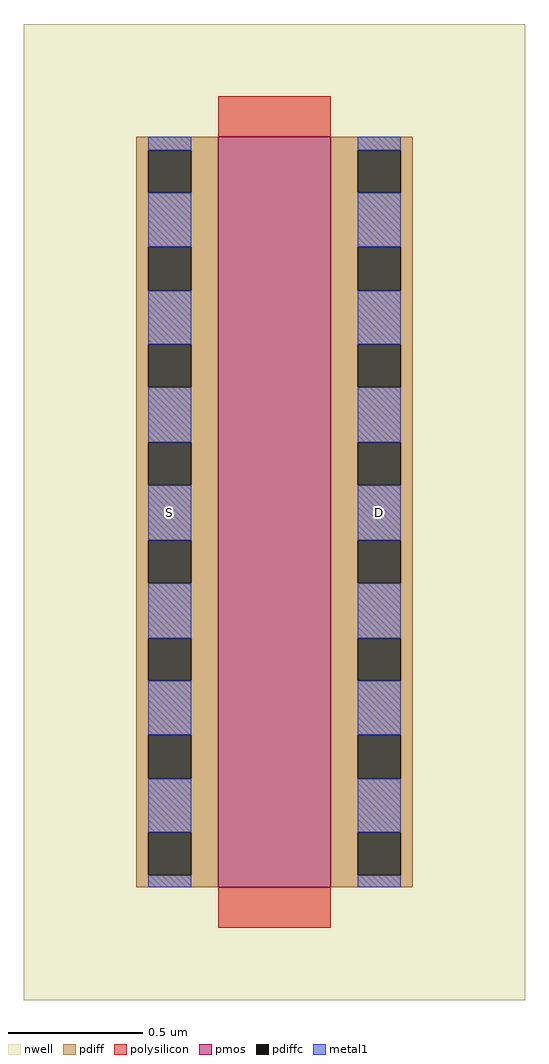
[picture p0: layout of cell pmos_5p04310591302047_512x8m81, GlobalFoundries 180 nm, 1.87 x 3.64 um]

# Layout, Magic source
magic
tech gf180mcuD
magscale 1 10
<< nwell >>
rect -145 -84 229 644
<< pmos >>
rect 0 0 84 560
<< pdiff >>
rect -61 550 0 560
rect -61 518 -52 550
rect -20 518 0 550
rect -61 478 0 518
rect -61 445 -52 478
rect -20 445 0 478
rect -61 405 0 445
rect -61 373 -52 405
rect -20 373 0 405
rect -61 332 0 373
rect -61 300 -52 332
rect -20 300 0 332
rect -61 259 0 300
rect -61 227 -52 259
rect -20 227 0 259
rect -61 186 0 227
rect -61 154 -52 186
rect -20 154 0 186
rect -61 114 0 154
rect -61 81 -52 114
rect -20 81 0 114
rect -61 41 0 81
rect -61 9 -52 41
rect -20 9 0 41
rect -61 0 0 9
rect 84 550 145 560
rect 84 518 104 550
rect 136 518 145 550
rect 84 478 145 518
rect 84 445 104 478
rect 136 445 145 478
rect 84 405 145 445
rect 84 373 104 405
rect 136 373 145 405
rect 84 332 145 373
rect 84 300 104 332
rect 136 300 145 332
rect 84 259 145 300
rect 84 227 104 259
rect 136 227 145 259
rect 84 186 145 227
rect 84 154 104 186
rect 136 154 145 186
rect 84 114 145 154
rect 84 81 104 114
rect 136 81 145 114
rect 84 41 145 81
rect 84 9 104 41
rect 136 9 145 41
rect 84 0 145 9
<< pdiffc >>
rect -52 518 -20 550
rect -52 445 -20 478
rect -52 373 -20 405
rect -52 300 -20 332
rect -52 227 -20 259
rect -52 154 -20 186
rect -52 81 -20 114
rect -52 9 -20 41
rect 104 518 136 550
rect 104 445 136 478
rect 104 373 136 405
rect 104 300 136 332
rect 104 227 136 259
rect 104 154 136 186
rect 104 81 136 114
rect 104 9 136 41
<< polysilicon >>
rect 0 560 84 590
rect 0 -30 84 0
<< metal1 >>
rect -52 550 -20 560
rect -52 478 -20 518
rect -52 405 -20 445
rect -52 332 -20 373
rect -52 259 -20 300
rect -52 186 -20 227
rect -52 114 -20 154
rect -52 41 -20 81
rect -52 0 -20 9
rect 104 550 136 560
rect 104 478 136 518
rect 104 405 136 445
rect 104 332 136 373
rect 104 259 136 300
rect 104 186 136 227
rect 104 114 136 154
rect 104 41 136 81
rect 104 0 136 9
<< labels >>
flabel metal1 -36 280 -36 280 0 FreeSans 280 0 0 0 S
flabel metal1 120 280 120 280 0 FreeSans 280 0 0 0 D
<< end >>
